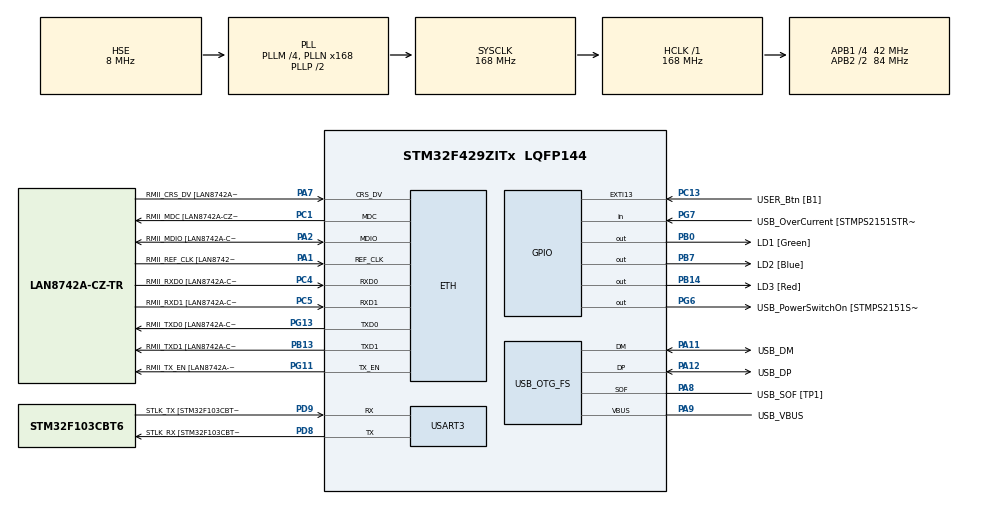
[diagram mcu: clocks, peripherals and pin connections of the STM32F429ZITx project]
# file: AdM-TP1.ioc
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ETH.MediaInterface=HAL_ETH_RMII_MODE
ETH.PHY_Name=LAN8742A_PHY_ADDRESS
ETH.PHY_Value=0
ETH.PhyAddress=0
Mcu.Family=STM32F4
Mcu.Name=STM32F429ZITx
Mcu.Package=LQFP144
NVIC.PriorityGroup=NVIC_PRIORITYGROUP_4
PA1.GPIO_Label=RMII_REF_CLK [LAN8742A-CZ-TR_REFCLK0]
PA1.Mode=RMII
PA1.Signal=ETH_REF_CLK
PA10.GPIO_Label=USB_ID
PA10.Signal=USB_OTG_FS_ID
PA11.GPIO_Label=USB_DM
PA11.Mode=Device_Only
PA11.Signal=USB_OTG_FS_DM
PA12.GPIO_Label=USB_DP
PA12.Mode=Device_Only
PA12.Signal=USB_OTG_FS_DP
PA13.GPIO_Label=TMS
PA13.Mode=Serial_Wire
PA13.Signal=SYS_JTMS-SWDIO
PA14.GPIO_Label=TCK
PA14.Mode=Serial_Wire
PA14.Signal=SYS_JTCK-SWCLK
PA2.GPIO_Label=RMII_MDIO [LAN8742A-CZ-TR_MDIO]
PA2.Mode=RMII
PA2.Signal=ETH_MDIO
PA7.GPIO_Label=RMII_CRS_DV [LAN8742A-CZ-TR_CRS_DV]
PA7.Mode=RMII
PA7.Signal=ETH_CRS_DV
PA8.GPIO_Label=USB_SOF [TP1]
PA8.Mode=Activate_SOF_FS
PA8.Signal=USB_OTG_FS_SOF
PA9.GPIO_Label=USB_VBUS
PA9.Mode=Activate_VBUS
PA9.Signal=USB_OTG_FS_VBUS
PB0.GPIO_Label=LD1 [Green]
PB0.Signal=GPIO_Output
PB13.GPIO_Label=RMII_TXD1 [LAN8742A-CZ-TR_TXD1]
PB13.Mode=RMII
PB13.Signal=ETH_TXD1
PB14.GPIO_Label=LD3 [Red]
PB14.Signal=GPIO_Output
PB7.GPIO_Label=LD2 [Blue]
PB7.Signal=GPIO_Output
PC1.GPIO_Label=RMII_MDC [LAN8742A-CZ-TR_MDC]
PC1.Mode=RMII
PC1.Signal=ETH_MDC
PC13.GPIO_Label=USER_Btn [B1]
PC13.Signal=GPXTI13
PC14/OSC32_IN.Mode=LSE-External-Oscillator
PC14/OSC32_IN.Signal=RCC_OSC32_IN
PC15/OSC32_OUT.Mode=LSE-External-Oscillator
PC15/OSC32_OUT.Signal=RCC_OSC32_OUT
PC4.GPIO_Label=RMII_RXD0 [LAN8742A-CZ-TR_RXD0]
PC4.Mode=RMII
PC4.Signal=ETH_RXD0
PC5.GPIO_Label=RMII_RXD1 [LAN8742A-CZ-TR_RXD1]
PC5.Mode=RMII
PC5.Signal=ETH_RXD1
PD8.GPIO_Label=STLK_RX [STM32F103CBT6_PA3]
PD8.Mode=Asynchronous
PD8.Signal=USART3_TX
PD9.GPIO_Label=STLK_TX [STM32F103CBT6_PA2]
PD9.Mode=Asynchronous
PD9.Signal=USART3_RX
PG11.GPIO_Label=RMII_TX_EN [LAN8742A-CZ-TR_TXEN]
PG11.Mode=RMII
PG11.Signal=ETH_TX_EN
PG13.GPIO_Label=RMII_TXD0 [LAN8742A-CZ-TR_TXD0]
PG13.Mode=RMII
PG13.Signal=ETH_TXD0
PG6.GPIO_Label=USB_PowerSwitchOn [STMPS2151STR_EN]
PG6.Signal=GPIO_Output
PG7.GPIO_Label=USB_OverCurrent [STMPS2151STR_FAULT]
PG7.Signal=GPIO_Input
PH0/OSC_IN.GPIO_Label=MCO [STM32F103CBT6_PA8]
PH0/OSC_IN.Mode=HSE-External-Clock-Source
PH0/OSC_IN.Signal=RCC_OSC_IN
PH1/OSC_OUT.Mode=HSE-External-Clock-Source
PH1/OSC_OUT.Signal=RCC_OSC_OUT
ProjectManager.HeapSize=0x200
ProjectManager.StackSize=0x400
ProjectManager.TargetToolchain=STM32CubeIDE
RCC.48MHZClocksFreq_Value=48000000
RCC.AHBFreq_Value=168000000
RCC.APB1CLKDivider=RCC_HCLK_DIV4
RCC.APB1Freq_Value=42000000
RCC.APB1TimFreq_Value=84000000
RCC.APB2CLKDivider=RCC_HCLK_DIV2
RCC.APB2Freq_Value=84000000
RCC.APB2TimCLKDivider=2
RCC.APB2TimFreq_Value=168000000
RCC.CortexFreq_Value=168000000
RCC.HCLKFreq_Value=168000000
RCC.HSE_VALUE=8000000
RCC.HSI_VALUE=16000000
RCC.PLLM=4
RCC.PLLMUL=RCC_PLL_MUL9
RCC.PLLN=168
RCC.PLLQ=7
RCC.PRESCALERUSB=RCC_USBCLKSOURCE_PLL_DIV1_5
RCC.SYSCLKFreq_VALUE=168000000
RCC.SYSCLKSource=RCC_SYSCLKSOURCE_PLLCLK
RCC.SYSCLKSourceVirtual=RCC_SYSCLKSOURCE_PLLCLK
RCC.USBFreq_Value=48000000
RCC.VCOOutputFreq_Value=336000000
USART3.VirtualMode=VM_ASYNC
USB_OTG_FS.VirtualMode=Device_Only
board=NUCLEO-F429ZI

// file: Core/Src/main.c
/* USER CODE BEGIN Header */
/**
  ******************************************************************************
  * @file           : main.c
  * @brief          : Main program body
  ******************************************************************************
  * @attention
  *
  * Copyright (c) 2024 STMicroelectronics.
  * All rights reserved.
  *
  * This software is licensed under terms that can be found in the LICENSE file
  * in the root directory of this software component.
  * If no LICENSE file comes with this software, it is provided AS-IS.
  *
  ******************************************************************************
  */
/* USER CODE END Header */
#include "main.h"
#include "string.h"
#include <time.h>
#include <stdlib.h>

/* USER CODE BEGIN Includes */
#include "asm_func.h"
#include "data.h"
/* USER CODE END Includes */

ETH_TxPacketConfig TxConfig;
ETH_DMADescTypeDef  DMARxDscrTab[ETH_RX_DESC_CNT]; /* Ethernet Rx DMA Descriptors */
ETH_DMADescTypeDef  DMATxDscrTab[ETH_TX_DESC_CNT]; /* Ethernet Tx DMA Descriptors */

ETH_HandleTypeDef heth;

UART_HandleTypeDef huart3;

PCD_HandleTypeDef hpcd_USB_OTG_FS;

void SystemClock_Config(void);
static void MX_GPIO_Init(void);
static void MX_ETH_Init(void);
static void MX_USART3_UART_Init(void);
static void MX_USB_OTG_FS_PCD_Init(void);
/* USER CODE BEGIN PFP */
void zeros(uint32_t *vec, uint32_t longitud);
void mul_esc_32(uint32_t *vectorIn, uint32_t *vectorOut, uint32_t longitud, uint16_t escalar);
void mul_esc_16(uint16_t *vectorIn, uint16_t *vectorOut, uint32_t longitud, uint16_t escalar);
void mul_esc_16_sat(uint16_t *vectorIn, uint16_t *vectorOut, uint32_t longitud, uint16_t escalar);
uint32_t bitfield_toggle(uint32_t *dato, uint32_t ancho, uint32_t inicio);

/* AdM - TP2 */
void pack32to16(int32_t * vectorIn, int16_t *vectorOut, uint32_t longitud);
uint32_t max(int32_t *vectorIn, uint32_t longitud);
void downSample(int32_t * vectorIn, int32_t * vectorOut, uint32_t longitud, uint32_t N);
void invertir(uint16_t * vector, uint32_t longitud);

/* AdM - TP3*/
uint32_t c_potencia (int16_t * vecIn, uint32_t longitud);
void c_medDif(int8_t * e, int8_t *x, int8_t *y, uint16_t longitud);
void c_eco (int16_t * signal, int16_t *eco, uint32_t longitud);

/* USER CODE END PFP */

int main(void)
{
  /* USER CODE BEGIN 1 */
	DWT->CTRL |= 1 << DWT_CTRL_CYCCNTENA_Pos;
	uint32_t ciclos_C, ciclos_ASM, ciclos_DSP;

	/* ----------- Funcion asm_sum Start ----------- */
	uint32_t a, b, c;
	a = 10;
	b = 20;
	c = asm_sum(a, b);
	/* ----------- Funcion asm_sum End ----------- */

	/* ----------- Funcion asm_svc Start ----------- */

	uint32_t x;
	x = __get_CONTROL();		// leo el registro  de control usando CMSIS Macro

	x |= 1;						// seteo b0 = 1.

	__set_CONTROL(x);			// escribo registro de control usando CMSIS Macro
								// Modo no privlegiado

	x &= ~1;					// pongo un 0 en b0

	__set_CONTROL(x);			// escribo registro de control usando CMSIS Macro
								// como estoy en modo no privlegiado se ignora la escritura

	asm_svc();					//invoco a la excepcion supervosr call para cambiar a modo
								//privilegiado

	/* ----------- Funcion asm_svc End ----------- */

	/* ----------- Funcion asm_stack Start ----------- */

	uint32_t d, e, f;
	d = 10;
	e = 1234;
	f = 5678;
	asm_stack(a, b, c, d, e, f);

	/* ----------- Función asm_stack End ----------- */

	/* ----------- Funcion asm_stack Start ----------- */

	uint32_t lon = 10;
	uint32_t vector[lon];
	uint32_t vector2[lon];
	zeros(vector, lon);
	asm_zeros(vector2, lon);

	/* ----------- Función asm_stack End ----------- */

	/* ----------- Función bitfield_clear ----------- */

	uint32_t dato, resultado, inicio, ancho;
	dato = 1023;
	inicio = 3;
	ancho = 5;
	resultado = asm_bitfield_clear(dato, ancho, inicio);

	/* ----------- Función bitfield_clear ----------- */

	/* ----------- Funcion asm_pack32to16 Start ----------- */

    /*
	uint32_t pack_lon = 10;
	int32_t asm_pack_vectorIn[pack_lon];
	int16_t asm_pack_vectorOut[pack_lon];
	int32_t pack_vectorIn[pack_lon];
	int16_t pack_vectorOut[pack_lon];

	asm_pack32to16(asm_pack_vectorIn, asm_pack_vectorOut, pack_lon);
	pack32to16(pack_vectorIn, pack_vectorOut, pack_lon);
	*/
	int32_t vectorIn[] = { 123456, -123456, 200000, -200000 };
	int16_t vectorOut[4];
	uint32_t longitud = 4;

	asm_pack32to16(vectorIn, vectorOut, longitud);

	/* ----------- Función asm_pack32to16 End ----------- */

	/* ----------- Funcion asm_max Start ----------- */

	uint32_t max_result;
	uint32_t asm_max_result;
	uint32_t max_lon = 5;
	int32_t asm_max_vectorIn[]= {100000, -522, 35812, -7999, -2588888};
	int32_t max_vectorIn[] = {100000, -522, 35812, -7999, -2588888};

	max_result = max(max_vectorIn, max_lon);
	asm_max_result = asm_max(asm_max_vectorIn, max_lon);

	/* ----------- Función asm_max End ----------- */

	/* ----------- Funcion asm_downSample Start ----------- */

	uint32_t down_long = 10;
	int32_t down_vectorIn[down_long];
	int32_t down_vectorOut[down_long];
	int32_t asm_down_vectorIn[down_long];
	int32_t asm_down_vectorOut[down_long];
	uint32_t down_N = 3;
	asm_downSample(asm_down_vectorIn, asm_down_vectorOut, down_long, down_N);
	downSample(down_vectorIn, down_vectorOut, down_long, down_N);

	/* ----------- Función asm_downSample End ----------- */

	/* ----------- Funcion asm_invertir Start ----------- */

	uint32_t invrt_long = 9;
	uint16_t invrt_vectorIn[] = {0,1,2,3,4,5,6,7,8};
	uint16_t asm_invrt_vectorIn[] = {0,1,2,3,4,5,6,7,8};
	invertir(invrt_vectorIn, invrt_long);
	asm_invertir(asm_invrt_vectorIn, invrt_long);

	/* ----------- Función asm_invertir End ----------- */

	/* ----------- Funcion c_potencia Start ----------- */

	uint32_t power, asm_power, asm_DSP_power;
	power = asm_power = asm_DSP_power = 0;

	DWT->CYCCNT = 0;
	power = c_potencia(c_potencia_vecIn, c_potencia_POTENCIA_LEN);
	ciclos_C = DWT->CYCCNT; /* Ciclos_C = 254 */

	DWT->CYCCNT = 0;
	asm_power = asm_potencia(c_potencia_vecIn, c_potencia_POTENCIA_LEN);
	ciclos_ASM = DWT->CYCCNT; /* Ciclos_ASM = 66 */

	DWT->CYCCNT = 0;
	asm_DSP_power = asm_potencia_DSP(c_potencia_vecIn, c_potencia_POTENCIA_LEN);
	ciclos_DSP = DWT->CYCCNT; /* Ciclos_DSP = 48 */

	/* ----------- Función c_potencia End ----------- */

	/* ----------- Funcion c_medDif Start ----------- */
	DWT->CYCCNT = 0;
	c_medDif(c_medDif_e, c_medDif_x, c_medDif_y, c_medDif_longitud);
	ciclos_C = DWT->CYCCNT; /* Ciclos_C = 435 */

	DWT->CYCCNT = 0;
	asm_medDif(asm_medDif_e, c_medDif_x, c_medDif_y, c_medDif_longitud);
	ciclos_ASM = DWT->CYCCNT; /* Ciclos_ASM = 129 */

	DWT->CYCCNT = 0;
	asm_medDif_DSP(asm_DSP_medDif_e, c_medDif_x, c_medDif_y, c_medDif_longitud);
	ciclos_DSP = DWT->CYCCNT; /* Ciclos_DSP = 55 */

	/* ----------- Función c_medDif End ----------- */

	/* ----------- Funcion c_eco Start ----------- */

	/* Initialize the random number generator with a seed based on the current time */
	srand(time(NULL));

	// Llena el array con números aleatorios en el rango de int16_t
	for (int i = 0; i < c_eco_longitud; i++) {

		c_eco_signalIn[i] = (int16_t)(rand() % (INT16_MAX - INT16_MIN + 1) + INT16_MIN);

	}

	DWT->CYCCNT = 0;
	c_eco(c_eco_signalIn, c_eco_signalOut, c_eco_longitud);
	ciclos_C = DWT->CYCCNT; /* Ciclos_C = 313927 */

	DWT->CYCCNT = 0;
	asm_eco(c_eco_signalIn, asm_eco_signalOut, c_eco_longitud);
	ciclos_ASM = DWT->CYCCNT; /* Ciclos_ASM = 65264 */

	DWT->CYCCNT = 0;
	asm_eco_DSP(c_eco_signalIn, asm_DSP_eco_signalOut, c_eco_longitud);
	ciclos_DSP = DWT->CYCCNT; /* Ciclos_DSP = 43631 */

	/* ----------- Función c_eco End ----------- */

  /* USER CODE END 1 */

  /* MCU Configuration--------------------------------------------------------*/

  /* Reset of all peripherals, Initializes the Flash interface and the Systick. */
  HAL_Init();

  /* Configure the system clock */
  SystemClock_Config();

  /* Initialize all configured peripherals */
  MX_GPIO_Init();
  MX_ETH_Init();
  MX_USART3_UART_Init();
  MX_USB_OTG_FS_PCD_Init();

  /* Infinite loop */
  while (1)
  {

  }
}

void SystemClock_Config(void)
{
  RCC_OscInitTypeDef RCC_OscInitStruct = {0};
  RCC_ClkInitTypeDef RCC_ClkInitStruct = {0};

  /** Configure the main internal regulator output voltage
  */
  __HAL_RCC_PWR_CLK_ENABLE();
  __HAL_PWR_VOLTAGESCALING_CONFIG(PWR_REGULATOR_VOLTAGE_SCALE1);

  /** Initializes the RCC Oscillators according to the specified parameters
  * in the RCC_OscInitTypeDef structure.
  */
  RCC_OscInitStruct.OscillatorType = RCC_OSCILLATORTYPE_HSE;
  RCC_OscInitStruct.HSEState = RCC_HSE_BYPASS;
  RCC_OscInitStruct.PLL.PLLState = RCC_PLL_ON;
  RCC_OscInitStruct.PLL.PLLSource = RCC_PLLSOURCE_HSE;
  RCC_OscInitStruct.PLL.PLLM = 4;
  RCC_OscInitStruct.PLL.PLLN = 168;
  RCC_OscInitStruct.PLL.PLLP = RCC_PLLP_DIV2;
  RCC_OscInitStruct.PLL.PLLQ = 7;
  if (HAL_RCC_OscConfig(&RCC_OscInitStruct) != HAL_OK)
  {
    Error_Handler();
  }

  /** Initializes the CPU, AHB and APB buses clocks
  */
  RCC_ClkInitStruct.ClockType = RCC_CLOCKTYPE_HCLK|RCC_CLOCKTYPE_SYSCLK
                              |RCC_CLOCKTYPE_PCLK1|RCC_CLOCKTYPE_PCLK2;
  RCC_ClkInitStruct.SYSCLKSource = RCC_SYSCLKSOURCE_PLLCLK;
  RCC_ClkInitStruct.AHBCLKDivider = RCC_SYSCLK_DIV1;
  RCC_ClkInitStruct.APB1CLKDivider = RCC_HCLK_DIV4;
  RCC_ClkInitStruct.APB2CLKDivider = RCC_HCLK_DIV2;

  if (HAL_RCC_ClockConfig(&RCC_ClkInitStruct, FLASH_LATENCY_5) != HAL_OK)
  {
    Error_Handler();
  }
}

static void MX_ETH_Init(void)
{

   static uint8_t MACAddr[6];

  heth.Instance = ETH;
  MACAddr[0] = 0x00;
  MACAddr[1] = 0x80;
  MACAddr[2] = 0xE1;
  MACAddr[3] = 0x00;
  MACAddr[4] = 0x00;
  MACAddr[5] = 0x00;
  heth.Init.MACAddr = &MACAddr[0];
  heth.Init.MediaInterface = HAL_ETH_RMII_MODE;
  heth.Init.TxDesc = DMATxDscrTab;
  heth.Init.RxDesc = DMARxDscrTab;
  heth.Init.RxBuffLen = 1524;

  if (HAL_ETH_Init(&heth) != HAL_OK)
  {
    Error_Handler();
  }

  memset(&TxConfig, 0 , sizeof(ETH_TxPacketConfig));
  TxConfig.Attributes = ETH_TX_PACKETS_FEATURES_CSUM | ETH_TX_PACKETS_FEATURES_CRCPAD;
  TxConfig.ChecksumCtrl = ETH_CHECKSUM_IPHDR_PAYLOAD_INSERT_PHDR_CALC;
  TxConfig.CRCPadCtrl = ETH_CRC_PAD_INSERT;

}

static void MX_USART3_UART_Init(void)
{

  huart3.Instance = USART3;
  huart3.Init.BaudRate = 115200;
  huart3.Init.WordLength = UART_WORDLENGTH_8B;
  huart3.Init.StopBits = UART_STOPBITS_1;
  huart3.Init.Parity = UART_PARITY_NONE;
  huart3.Init.Mode = UART_MODE_TX_RX;
  huart3.Init.HwFlowCtl = UART_HWCONTROL_NONE;
  huart3.Init.OverSampling = UART_OVERSAMPLING_16;
  if (HAL_UART_Init(&huart3) != HAL_OK)
  {
    Error_Handler();
  }

}

static void MX_USB_OTG_FS_PCD_Init(void)
{

  hpcd_USB_OTG_FS.Instance = USB_OTG_FS;
  hpcd_USB_OTG_FS.Init.dev_endpoints = 4;
  hpcd_USB_OTG_FS.Init.speed = PCD_SPEED_FULL;
  hpcd_USB_OTG_FS.Init.dma_enable = DISABLE;
  hpcd_USB_OTG_FS.Init.phy_itface = PCD_PHY_EMBEDDED;
  hpcd_USB_OTG_FS.Init.Sof_enable = ENABLE;
  hpcd_USB_OTG_FS.Init.low_power_enable = DISABLE;
  hpcd_USB_OTG_FS.Init.lpm_enable = DISABLE;
  hpcd_USB_OTG_FS.Init.vbus_sensing_enable = ENABLE;
  hpcd_USB_OTG_FS.Init.use_dedicated_ep1 = DISABLE;
  if (HAL_PCD_Init(&hpcd_USB_OTG_FS) != HAL_OK)
  {
    Error_Handler();
  }

}

static void MX_GPIO_Init(void)
{
  GPIO_InitTypeDef GPIO_InitStruct = {0};

  /* GPIO Ports Clock Enable */
  __HAL_RCC_GPIOC_CLK_ENABLE();
  __HAL_RCC_GPIOH_CLK_ENABLE();
  __HAL_RCC_GPIOA_CLK_ENABLE();
  __HAL_RCC_GPIOB_CLK_ENABLE();
  __HAL_RCC_GPIOD_CLK_ENABLE();
  __HAL_RCC_GPIOG_CLK_ENABLE();

  /*Configure GPIO pin Output Level */
  HAL_GPIO_WritePin(GPIOB, LD1_Pin|LD3_Pin|LD2_Pin, GPIO_PIN_RESET);

  /*Configure GPIO pin Output Level */
  HAL_GPIO_WritePin(USB_PowerSwitchOn_GPIO_Port, USB_PowerSwitchOn_Pin, GPIO_PIN_RESET);

  /*Configure GPIO pin : USER_Btn_Pin */
  GPIO_InitStruct.Pin = USER_Btn_Pin;
  GPIO_InitStruct.Mode = GPIO_MODE_IT_RISING;
  GPIO_InitStruct.Pull = GPIO_NOPULL;
  HAL_GPIO_Init(USER_Btn_GPIO_Port, &GPIO_InitStruct);

  /*Configure GPIO pins : LD1_Pin LD3_Pin LD2_Pin */
  GPIO_InitStruct.Pin = LD1_Pin|LD3_Pin|LD2_Pin;
  GPIO_InitStruct.Mode = GPIO_MODE_OUTPUT_PP;
  GPIO_InitStruct.Pull = GPIO_NOPULL;
  GPIO_InitStruct.Speed = GPIO_SPEED_FREQ_LOW;
  HAL_GPIO_Init(GPIOB, &GPIO_InitStruct);

  /*Configure GPIO pin : USB_PowerSwitchOn_Pin */
  GPIO_InitStruct.Pin = USB_PowerSwitchOn_Pin;
  GPIO_InitStruct.Mode = GPIO_MODE_OUTPUT_PP;
  GPIO_InitStruct.Pull = GPIO_NOPULL;
  GPIO_InitStruct.Speed = GPIO_SPEED_FREQ_LOW;
  HAL_GPIO_Init(USB_PowerSwitchOn_GPIO_Port, &GPIO_InitStruct);

  /*Configure GPIO pin : USB_OverCurrent_Pin */
  GPIO_InitStruct.Pin = USB_OverCurrent_Pin;
  GPIO_InitStruct.Mode = GPIO_MODE_INPUT;
  GPIO_InitStruct.Pull = GPIO_NOPULL;
  HAL_GPIO_Init(USB_OverCurrent_GPIO_Port, &GPIO_InitStruct);

}

/* USER CODE BEGIN 4 */

/*
 * @Func:	zeros(uint32_t *vec, uint32_t longitud)
 * @Brief:	fill vector to zero
 *
 * @Parameters:
 * 		uint32_t *vec: vector
 * 		uint32_t longitud
 *
 * @Return:
 * 		None
 */
void zeros(uint32_t *vec, uint32_t longitud) {
	// Notar que se usa > y no ≥ por el tipo uint
	for (uint8_t i = longitud; i > 0; i--) {
		vec[i - 1] = 0;
	}

	return;

}

/*
 * @Func:	mul_esc_32(uint32_t *vectorIn, uint32_t *vectorOut, uint32_t longitud, uint16_t escalar)
 * @Brief:	multiply a 32 bits vector output by scalar factor
 *
 * @Parameters:
 * 		uint32_t *vectorIn: input vector
 * 		uint32_t *vectorOut: output vector
 * 		uint32_t longitud: lenght both vectors
 * 		uint16_t escalar: scalar factor multiplier
 *
 * @Return:
 * 		None
 */
void mul_esc_32(uint32_t *vectorIn, uint32_t *vectorOut, uint32_t longitud, uint16_t escalar){

	return;

}

/*
 * @Func:	mul_esc_16(uint16_t *vectorIn, uint16_t *vectorOut, uint32_t longitud, uint16_t escalar)
 * @Brief:	multiply a 16 bits vector output by scalar factor
 *
 * @Parameters:
 * 		uint16_t *vectorIn: input vector
 * 		uint16_t *vectorOut: output vector
 * 		uint32_t longitud: lenght both vectors
 * 		uint16_t escalar: scalar factor multiplier
 *
 * @Return:
 * 		None
 */
void mul_esc_16(uint16_t *vectorIn, uint16_t *vectorOut, uint32_t longitud, uint16_t escalar){

	return;

}

/*
 * @Func:	mul_esc_16(uint16_t *vectorIn, uint16_t *vectorOut, uint32_t longitud, uint16_t escalar)
 * @Brief:	multiply a 16 bits vector output by scalar factor and implements saturation maths
 *
 * @Parameters:
 * 		uint16_t *vectorIn: input vector
 * 		uint16_t *vectorOut: saturated output vector
 * 		uint32_t longitud: lenght both vectors
 * 		uint16_t escalar: scalar factor multiplier
 *
 * @Return:
 * 		None
 */
void mul_esc_16_sat(uint16_t *vectorIn, uint16_t *vectorOut, uint32_t longitud, uint16_t escalar){

	return;

}

/*
 * @Func:	bitfield_toggle(uint32_t *dato, uint32_t ancho, uint32_t inicio)
 * @Brief:	togle a bitfield in a data
 *
 * @Parameters:
 * 		uint32_t *dato: pointer to date to be procesing
 * 		uint32_t ancho: bitfield weight
 * 		uint32_t inicio: bitfield start
 *
 * @Return:
 * 		None
 */
uint32_t bitfield_toggle(uint32_t *dato, uint32_t ancho, uint32_t inicio){

	uint32_t result = 0;

	return (result);

}

/*
 * @Func:	pack32to16(int32_t * vectorIn, int16_t *vectorOut, uint32_t longitud)
 *
 * @Brief:	Realizar una función que reciba un vector de
 * 			números signados de 32 bits y los
 * 			“empaquete” en otro vector de 16 bits, guardando
 * 			la parte alta (MSB).
 * 			Sugerencia: utilice números mayores a 100.000 y
 * 			menores a -100.000 en el vector de pruebas para
 * 			poder ver los resultados.
 *
 * @Parameters:
 * 		int32_t *vectorIn:
 * 		int16_t *vectorOut:
 * 		uint32_t longitud:
 *
 * @Return:
 * 		None
 */
void pack32to16(int32_t * vectorIn, int16_t *vectorOut, uint32_t longitud){

	return;

}

/*
 * @Func:	max(int32_t *vectorIn, uint32_t longitud)
 *
 * @Brief:	Realizar una función que reciba un vector de
 * 			números signados de 32 bits y devuelva la
 * 			posición del máximo del vector.
 *
 * @Parameters:
 * 		int32_t *vectorIn:
 * 		uint32_t longitud:
 *
 * @Return:
 * 		uint32_t
 *
 * @Created on: May 25, 2024
 * @Author: Daniel David Albarracin
 * @SIU: e2207
 *
 */
uint32_t max(int32_t *vectorIn, uint32_t longitud) {

	uint32_t index = 0;

	uint32_t posMax = 0;
	int32_t MaxValue = 0;

	MaxValue = vectorIn[longitud - 1];

	for (index = (longitud - 1); index > 0; index--) {
		if (vectorIn[index - 1] > MaxValue) {
			posMax = (index - 1);
			MaxValue = vectorIn[index - 1];
		}
	}

	return (posMax);

}

/*
 * @Func:	downSample(int32_t * vectorIn, int32_t * vectorOut, uint32_t longitud, uint32_t N)
 *
 * @Brief:	Realizar una función que reciba un vector de muestras
 * 			signadas de 32 bits y descarte una de cada N muestras.
 * 			Si se impone en la aplicación que longitud siempre
 * 			es múltiplo de N, ¿cómo determinaría la longitud de
 * 			vectorOut?
 *
 * @Parameters:
 * 		int32_t *vectorIn:
 * 		int16_t vectorOut:
 * 		uint32_t longitud:
 * 		uint32_t N:
 *
 * @Return:
 * 		None
 */
void downSample(int32_t * vectorIn, int32_t * vectorOut, uint32_t longitud, uint32_t N){

	uint32_t outIndex = 0;
	for (uint32_t i = 0; i < longitud; i++) {
		if ((i + 1) %N != 0) {
			vectorOut[outIndex++] = vectorIn[i];
	    }
	}

	return;

}

/*
 * @Func:	invertir(uint16_t * vector, uint32_t longitud)
 *
 * @Brief:	Realizar una función que reciba un vector de
 * 			muestras no signadas de 16 bits e invierta su orden.
 *
 * @Parameters:
 * 		uint16_t *vector:
 * 		uint32_t longitud:
 *
 * @Return:
 * 		None
 *
 * @Created on: May 25, 2024
 * @Author: Daniel David Albarracin
 * @SIU: e2207
 *
 */
void invertir(uint16_t *vector, uint32_t longitud) {

	uint16_t firstValue, lastValue;
	uint16_t index;

	for (index = 0; index < (longitud / 2); index++) {
		firstValue = vector[index];
		lastValue = vector[(longitud - 1) - index];
		vector[index] = lastValue;
		vector[(longitud - 1) - index] = firstValue;
	}

	return;

}

/*
 * @Func:	c_potencia (int16_t * vecIn, uint32_t longitud)
 *
 * @Brief:	Implementar una función que calcule la potencia
 * 			de una señal discreta x[n] con datos signados de
 * 			16 bits
 *
 * @Parameters:
 * 		int16_t *vector:
 * 		uint32_t longitud:
 *
 * @Return:
 * 		uint32_t power
 *
 * @Created on: June 06, 2024
 * @Author: All
 * @SIU: e2201 - e2203 - e2207
 *
 */
uint32_t c_potencia (int16_t * vecIn, uint32_t longitud) {

	uint32_t power = 0;

	if ((vecIn != NULL) & (longitud != 0)){

		for (int32_t i = 0; i < longitud; i++) {

			power += (vecIn [i] * vecIn [i]);

		}

		power /= longitud;

	}

	return power;

}

/*
 * @Func:	c_medDif(int8_t * e, int8_t *x, int8_t *y, uint16_t longitud)
 *
 * @Brief:	Implementar una función que calcule el vector de diferencia
 * 			media entre dos señales discretas x[n] e y[n] con datos
 * 			signados de 8 bits y de igual cantidad de elementos
 *
 * @Parameters:
 * 		int8_t *e: mean difference vector
 * 		int8_t *x: x signal
 * 		int8_t *y: y signal
 * 		uint16_t longitud: vector length
 *
 * @Return:
 * 		None
 *
 * @Created on: Jun 06, 2024
 * @Author: All
 * @SIU: e2201 - e2203 - e2207
 *
 */
void c_medDif(int8_t * e, int8_t *x, int8_t *y, uint16_t longitud) {

	if ((e != NULL) & (x != NULL) & (y != NULL) & (longitud != 0)){

		for (int32_t i = 0; i < longitud; i++) {

			e[i] = (x[i] - y [i]) / 2;

		}
	}

}

/*
 * @Func:	c_eco(int16_t * signal, int16_t *eco, uint32_t longitud)
 *
 * @Brief:	Realizar una función que recibe un vector de 4096
 * 			valores de 16 bits signados, que corresponden a muestras
 * 			de audio tomadas a una tasa de muestreo de 44.100
 * 			muestras/s. La función debe introducir un “eco” que
 * 			consiste en adicionar a la señal original, la propia
 * 			señal original dividida por dos y atrasada en 20 mseg
 *
 * @Parameters:
 * 		int16_t *signal: signal vector
 * 		int16_t *eco: eco signal
 * 		uint32_t longitud: vector length
 *
 * @Return:
 * 		None
 *
 * @Created on: Jun 06, 2024
 * @Author: All
 * @SIU: e2201 - e2203 - e2207
 *
 */
void c_eco(int16_t * signal, int16_t *eco, uint32_t longitud) {

	// offset[index] = ((offset[ms] * fs[Hz]) / 1000) - 1
	uint32_t offset = ((20 * 44100) / 1000) - 1;	// Initial Eco Sample = 881

	int16_t sample = 0;

	if ((signal != NULL) & (longitud != 0)){

		memset(eco, '\0', (longitud * sizeof(int16_t)));

		for (uint32_t i = 0; i < longitud; i++) {

			sample = signal [i];

			if (i >= offset) {

				sample += (signal[i - offset] / 2);

			}

			eco[i] = sample;

		}

	}

}

/* USER CODE END 4 */

void Error_Handler(void)
{
  __disable_irq();
  while (1)
  {
  }
}
